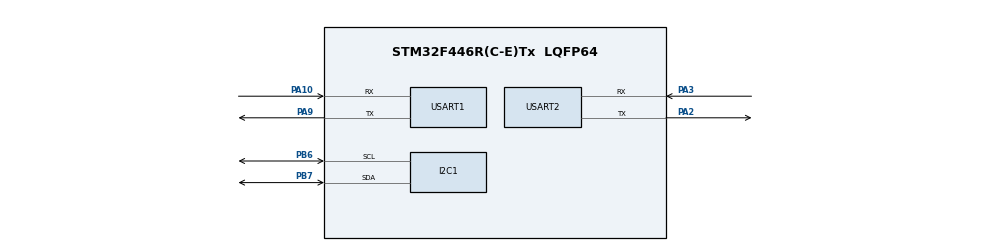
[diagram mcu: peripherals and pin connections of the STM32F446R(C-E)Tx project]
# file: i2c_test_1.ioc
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I2C1.DutyCycle=I2C_DUTYCYCLE_16_9
I2C1.I2C_Mode=I2C_Fast
Mcu.Family=STM32F4
Mcu.Name=STM32F446R(C-E)Tx
Mcu.Package=LQFP64
NVIC.PriorityGroup=NVIC_PRIORITYGROUP_4
NVIC.TIM6_DAC_IRQn=true\:0\:0\:false\:true\:true\:1\:true
PA10.Mode=Asynchronous
PA10.Signal=USART1_RX
PA2.Mode=Asynchronous
PA2.Signal=USART2_TX
PA3.Mode=Asynchronous
PA3.Signal=USART2_RX
PA9.Mode=Asynchronous
PA9.Signal=USART1_TX
PB6.Mode=I2C
PB6.Signal=I2C1_SCL
PB7.Mode=I2C
PB7.Signal=I2C1_SDA
ProjectManager.HeapSize=0x200
ProjectManager.StackSize=0x400
ProjectManager.TargetToolchain=SW4STM32
RCC.CortexFreq_Value=16000000
RCC.USBFreq_Value=96000000
RCC.VCOOutputFreq_Value=192000000
TIM6.Period=65535
TIM6.Prescaler=16
USART1.VirtualMode=VM_ASYNC
USART2.VirtualMode=VM_ASYNC
VP_TIM6_VS_ClockSourceINT.Mode=Enable_Timer
board=custom

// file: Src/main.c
/**
  ******************************************************************************
  * @file           : main.c
  * @brief          : Main program body
  ******************************************************************************
  ** This notice applies to any and all portions of this file
  * that are not between comment pairs USER CODE BEGIN and
  * USER CODE END. Other portions of this file, whether
  * inserted by the user or by software development tools
  * are owned by their respective copyright owners.
  *
  * COPYRIGHT(c) 2018 STMicroelectronics
  *
  * Redistribution and use in source and binary forms, with or without modification,
  * are permitted provided that the following conditions are met:
  *   1. Redistributions of source code must retain the above copyright notice,
  *      this list of conditions and the following disclaimer.
  *   2. Redistributions in binary form must reproduce the above copyright notice,
  *      this list of conditions and the following disclaimer in the documentation
  *      and/or other materials provided with the distribution.
  *   3. Neither the name of STMicroelectronics nor the names of its contributors
  *      may be used to endorse or promote products derived from this software
  *      without specific prior written permission.
  *
  * THIS SOFTWARE IS PROVIDED BY THE COPYRIGHT HOLDERS AND CONTRIBUTORS "AS IS"
  * AND ANY EXPRESS OR IMPLIED WARRANTIES, INCLUDING, BUT NOT LIMITED TO, THE
  * IMPLIED WARRANTIES OF MERCHANTABILITY AND FITNESS FOR A PARTICULAR PURPOSE ARE
  * DISCLAIMED. IN NO EVENT SHALL THE COPYRIGHT HOLDER OR CONTRIBUTORS BE LIABLE
  * FOR ANY DIRECT, INDIRECT, INCIDENTAL, SPECIAL, EXEMPLARY, OR CONSEQUENTIAL
  * DAMAGES (INCLUDING, BUT NOT LIMITED TO, PROCUREMENT OF SUBSTITUTE GOODS OR
  * SERVICES; LOSS OF USE, DATA, OR PROFITS; OR BUSINESS INTERRUPTION) HOWEVER
  * CAUSED AND ON ANY THEORY OF LIABILITY, WHETHER IN CONTRACT, STRICT LIABILITY,
  * OR TORT (INCLUDING NEGLIGENCE OR OTHERWISE) ARISING IN ANY WAY OUT OF THE USE
  * OF THIS SOFTWARE, EVEN IF ADVISED OF THE POSSIBILITY OF SUCH DAMAGE.
  *
  ******************************************************************************
  */
#include "main.h"
#include "stm32f4xx_hal.h"

/* USER CODE BEGIN Includes */
#include "string.h"
#include "stdio.h"
#include "stdlib.h"
#include <inttypes.h>
#include "stm32f4xx_hal_gpio.h"
#include "stm32f4xx_it.h"
#include "stm32f4xx_hal_i2c.h"
#include "string.h"
#include <math.h>

/* USER CODE END Includes */

I2C_HandleTypeDef hi2c1;

TIM_HandleTypeDef htim6;

UART_HandleTypeDef huart1;
UART_HandleTypeDef huart2;

/* USER CODE BEGIN PV */
/* Private variables ---------------------------------------------------------*/

/* USER CODE END PV */

void SystemClock_Config(void);
static void MX_GPIO_Init(void);
static void MX_I2C1_Init(void);
static void MX_USART2_UART_Init(void);
static void MX_USART1_UART_Init(void);
static void MX_TIM6_Init(void);
static void MX_NVIC_Init(void);

/* USER CODE BEGIN PFP */
/* Private function prototypes -----------------------------------------------*/

/* USER CODE END PFP */

/* USER CODE BEGIN 0 */
uint8_t rx;

float accel[3];
float gyro[3];
float offset[3];
float temp;

char txt[100];

/* USER CODE END 0 */

int main(void)
{

  /* MCU Configuration----------------------------------------------------------*/

  /* Reset of all peripherals, Initializes the Flash interface and the Systick. */
  HAL_Init();

  /* Configure the system clock */
  SystemClock_Config();

  /* Initialize all configured peripherals */
  MX_GPIO_Init();
  MX_I2C1_Init();
  MX_USART2_UART_Init();
  MX_USART1_UART_Init();
  MX_TIM6_Init();

  /* Initialize interrupts */
  MX_NVIC_Init();
  /* USER CODE BEGIN 2 */

  HAL_I2C_Init(&hi2c1);

  MPU_Init();
  /* USER CODE END 2 */

  /* Infinite loop */
  /* USER CODE BEGIN WHILE */

  offset[0] = 0;
  offset[1] = 0;
  offset[2] = 0;

  set_offset();

  while (1)
  {

  /* USER CODE END WHILE */

  /* USER CODE BEGIN 3 */
	  read_accelerometer();
	  read_gyroscope();
	  read_temp();
	  sprintf(txt, "%d \t %d \t %d", (int)accel[0], (int)accel[1], (int)accel[2]);
	  //sprintf(txt, "%d \t %d \t %d", (int)gyro[0], (int)gyro[1], (int)gyro[2]);
	  //sprintf(txt, "%d", (int)temp);
	  print(txt);

  }
  /* USER CODE END 3 */

}

void SystemClock_Config(void)
{

  RCC_OscInitTypeDef RCC_OscInitStruct;
  RCC_ClkInitTypeDef RCC_ClkInitStruct;

    /**Configure the main internal regulator output voltage
    */
  __HAL_RCC_PWR_CLK_ENABLE();

  __HAL_PWR_VOLTAGESCALING_CONFIG(PWR_REGULATOR_VOLTAGE_SCALE3);

    /**Initializes the CPU, AHB and APB busses clocks
    */
  RCC_OscInitStruct.OscillatorType = RCC_OSCILLATORTYPE_HSI;
  RCC_OscInitStruct.HSIState = RCC_HSI_ON;
  RCC_OscInitStruct.HSICalibrationValue = 16;
  RCC_OscInitStruct.PLL.PLLState = RCC_PLL_NONE;
  if (HAL_RCC_OscConfig(&RCC_OscInitStruct) != HAL_OK)
  {
    _Error_Handler(__FILE__, __LINE__);
  }

    /**Initializes the CPU, AHB and APB busses clocks
    */
  RCC_ClkInitStruct.ClockType = RCC_CLOCKTYPE_HCLK|RCC_CLOCKTYPE_SYSCLK
                              |RCC_CLOCKTYPE_PCLK1|RCC_CLOCKTYPE_PCLK2;
  RCC_ClkInitStruct.SYSCLKSource = RCC_SYSCLKSOURCE_HSI;
  RCC_ClkInitStruct.AHBCLKDivider = RCC_SYSCLK_DIV1;
  RCC_ClkInitStruct.APB1CLKDivider = RCC_HCLK_DIV1;
  RCC_ClkInitStruct.APB2CLKDivider = RCC_HCLK_DIV1;

  if (HAL_RCC_ClockConfig(&RCC_ClkInitStruct, FLASH_LATENCY_0) != HAL_OK)
  {
    _Error_Handler(__FILE__, __LINE__);
  }

    /**Configure the Systick interrupt time
    */
  HAL_SYSTICK_Config(HAL_RCC_GetHCLKFreq()/1000);

    /**Configure the Systick
    */
  HAL_SYSTICK_CLKSourceConfig(SYSTICK_CLKSOURCE_HCLK);

  /* SysTick_IRQn interrupt configuration */
  HAL_NVIC_SetPriority(SysTick_IRQn, 0, 0);
}

/**
  * @brief NVIC Configuration.
  * @retval None
  */
static void MX_NVIC_Init(void)
{
  /* TIM6_DAC_IRQn interrupt configuration */
  HAL_NVIC_SetPriority(TIM6_DAC_IRQn, 0, 0);
  HAL_NVIC_EnableIRQ(TIM6_DAC_IRQn);
}

/* I2C1 init function */
static void MX_I2C1_Init(void)
{

  hi2c1.Instance = I2C1;
  hi2c1.Init.ClockSpeed = 400000;
  hi2c1.Init.DutyCycle = I2C_DUTYCYCLE_16_9;
  hi2c1.Init.OwnAddress1 = 0;
  hi2c1.Init.AddressingMode = I2C_ADDRESSINGMODE_7BIT;
  hi2c1.Init.DualAddressMode = I2C_DUALADDRESS_DISABLE;
  hi2c1.Init.OwnAddress2 = 0;
  hi2c1.Init.GeneralCallMode = I2C_GENERALCALL_DISABLE;
  hi2c1.Init.NoStretchMode = I2C_NOSTRETCH_DISABLE;
  if (HAL_I2C_Init(&hi2c1) != HAL_OK)
  {
    _Error_Handler(__FILE__, __LINE__);
  }

}

/* TIM6 init function */
static void MX_TIM6_Init(void)
{

  TIM_MasterConfigTypeDef sMasterConfig;

  htim6.Instance = TIM6;
  htim6.Init.Prescaler = 16;
  htim6.Init.CounterMode = TIM_COUNTERMODE_UP;
  htim6.Init.Period = 65535;
  if (HAL_TIM_Base_Init(&htim6) != HAL_OK)
  {
    _Error_Handler(__FILE__, __LINE__);
  }

  sMasterConfig.MasterOutputTrigger = TIM_TRGO_RESET;
  sMasterConfig.MasterSlaveMode = TIM_MASTERSLAVEMODE_DISABLE;
  if (HAL_TIMEx_MasterConfigSynchronization(&htim6, &sMasterConfig) != HAL_OK)
  {
    _Error_Handler(__FILE__, __LINE__);
  }

}

/* USART1 init function */
static void MX_USART1_UART_Init(void)
{

  huart1.Instance = USART1;
  huart1.Init.BaudRate = 115200;
  huart1.Init.WordLength = UART_WORDLENGTH_8B;
  huart1.Init.StopBits = UART_STOPBITS_1;
  huart1.Init.Parity = UART_PARITY_NONE;
  huart1.Init.Mode = UART_MODE_TX_RX;
  huart1.Init.HwFlowCtl = UART_HWCONTROL_NONE;
  huart1.Init.OverSampling = UART_OVERSAMPLING_16;
  if (HAL_UART_Init(&huart1) != HAL_OK)
  {
    _Error_Handler(__FILE__, __LINE__);
  }

}

/* USART2 init function */
static void MX_USART2_UART_Init(void)
{

  huart2.Instance = USART2;
  huart2.Init.BaudRate = 115200;
  huart2.Init.WordLength = UART_WORDLENGTH_8B;
  huart2.Init.StopBits = UART_STOPBITS_1;
  huart2.Init.Parity = UART_PARITY_NONE;
  huart2.Init.Mode = UART_MODE_TX_RX;
  huart2.Init.HwFlowCtl = UART_HWCONTROL_NONE;
  huart2.Init.OverSampling = UART_OVERSAMPLING_16;
  if (HAL_UART_Init(&huart2) != HAL_OK)
  {
    _Error_Handler(__FILE__, __LINE__);
  }

}

/** Pinout Configuration
*/
static void MX_GPIO_Init(void)
{

  /* GPIO Ports Clock Enable */
  __HAL_RCC_GPIOA_CLK_ENABLE();
  __HAL_RCC_GPIOB_CLK_ENABLE();

}

/* USER CODE BEGIN 4 */
/*
 * don't use this function
void HAL_I2C_MspInit(I2C_HandleTypeDef *hi2c){
	GPIO_InitTypeDef GPIO_InitStruct;

	GPIO_InitStruct.Pin = GPIO_PIN_8|GPIO_PIN_9;
	GPIO_InitStruct.Mode = GPIO_MODE_AF_OD;
	GPIO_InitStruct.Pull = GPIO_PULLUP;
	GPIO_InitStruct.Speed = GPIO_SPEED_HIGH;
	GPIO_InitStruct.Alternate = GPIO_AF4_I2C1;
	HAL_GPIO_Init(GPIOB, &GPIO_InitStruct);

	__I2C1_CLK_ENABLE();
}*/

void print(char* text){
	HAL_UART_Transmit(&huart2, (uint8_t*)text, strlen(text), 5);
	HAL_UART_Transmit(&huart2, (uint8_t*)"\r\n", 2, 2);
}

void write_register(uint8_t address, uint8_t register_pointer, uint16_t register_value)
{
    uint8_t data[3];

    data[0] = register_pointer;     // 0x0C in your example
    data[1] = register_value>>8;    // MSB byte of 16bit data
    data[2] = register_value;       // LSB byte of 16bit data

    HAL_I2C_Master_Transmit(&hi2c1, address, data, 3, 100);  // data is the start pointer of our array
    HAL_I2C_Master_Transmit(&hi2c1, address, data, 3, 100);  // data is the start pointer of our array
}

void read_register(uint8_t address, uint8_t register_pointer, uint8_t* receive_buffer)
{

    HAL_I2C_Master_Transmit(&hi2c1, address, &register_pointer, 1, 100);

    HAL_I2C_Master_Receive(&hi2c1, address, receive_buffer, 2, 100);
}

void read_accelerometer(){
	read_register(209, 0x3B, &rx);
	accel[0] = rx * 1000;
	read_register(209, 0x3C, &rx);
	accel[0] += rx;

	read_register(209, 0x3d, &rx);
	accel[1] = rx * 1000;
	read_register(209, 0x3E, &rx);
	accel[1] += rx;

	read_register(209, 0x3F, &rx);
	accel[2] = rx * 1000;
	read_register(209, 0x40, &rx);
	accel[2] += rx;

	accel[0] = accel[0] - offset[0];
	accel[1] = accel[1] - offset[1];
	accel[2] = accel[2] - offset[2];
}

void set_offset(){
	float accel_average[3];

	accel_average[0] = 0;
	accel_average[1] = 0;
	accel_average[2] = 0;

	for(int i = 0; i < 10; i++){
		read_register(209, 0x3B, &rx);
		accel[0] = rx * 1000;
		read_register(209, 0x3C, &rx);
		accel[0] += rx;

		read_register(209, 0x3d, &rx);
		accel[1] = rx * 1000;
		read_register(209, 0x3E, &rx);
		accel[1] += rx;

		read_register(209, 0x3F, &rx);
		accel[2] = rx * 1000;
		read_register(209, 0x40, &rx);
		accel[2] += rx;

		accel_average[0] += accel[0];
		accel_average[1] += accel[1];
		accel_average[2] += accel[2];
	}
	accel_average[0] /= 100;
	accel_average[1] /= 100;
	accel_average[2] /= 100;

	offset[0] = accel_average[0];
	offset[1] = accel_average[1];
	offset[2] = accel_average[2];
}

void read_gyroscope(){
	read_register(209, 0x43, &rx);
	gyro[0] = rx * 1000;
	read_register(209, 0x44, &rx);
	gyro[0] += rx;

	read_register(209, 0x45, &rx);
	gyro[1] = rx * 1000;
	read_register(209, 0x46, &rx);
	gyro[1] += rx;

	read_register(209, 0x47, &rx);
	gyro[2] = rx * 1000;
	read_register(209, 0x48, &rx);
	gyro[2] += rx;
}

void read_temp(){
	read_register(209, 0x41, &rx);
	temp = rx * 1000;
	read_register(209, 0x42, &rx);
	temp += rx;

	temp = temp/340 + 36.53;
}

void MPU_Init(){
	write_register(208, 0x6B, 0x0000);

	HAL_Delay(100);
	//GYRO config
	//write_register(208, 0x1B, 0x0000);	//+- 250 �/s
	//write_register(208, 0x1B, 0x0008);	//+- 500 �/s
	write_register(208, 0x1B, 0x0010);	//+- 1000 �/s
	//write_register(208, 0x1B, 0x0018);	//+- 2000 �/s

	HAL_Delay(100);
	//ACCEL config
	write_register(208, 0x1C, 0x0000);	//+- 2 g
	//write_register(208, 0x1C, 0x0008);	//+- 4 g
	//write_register(208, 0x1C, 0x0010);	//+- 8 g
	//write_register(208, 0x1C, 0x0018);	//+- 16 g

	HAL_Delay(100);
}

/* USER CODE END 4 */

void _Error_Handler(char *file, int line)
{
  while(1)
  {
  }
}

/************************ (C) COPYRIGHT STMicroelectronics *****END OF FILE****/
